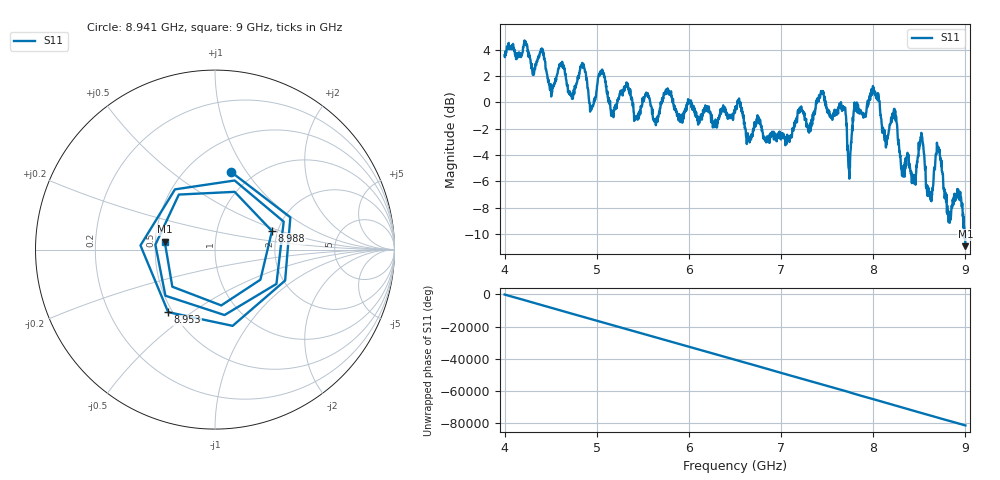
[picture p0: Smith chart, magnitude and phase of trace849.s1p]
! Created with skrf 1.8.0 (http://scikit-rf.org).
# Hz S RI R 50.0
!freq ReS11 ImS11
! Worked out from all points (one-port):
!   1601 points, 4 GHz to 9 GHz, reference 50 ohm
!   lowest |S11| = -10.9 dB at 9 GHz (marker M1), VSWR 1.79, Z = 28 + j2.73 ohm
!   |S11| at or under -10 dB: 8.989711 GHz to end of sweep
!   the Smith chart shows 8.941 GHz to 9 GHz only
!   S11 on the Smith chart (normalised r, x): 8.941 GHz: 0.79, +0.85; 8.953 GHz: 0.47, -0.41; 8.988 GHz: 1.86, +0.44; 9 GHz: 0.56, +0.05
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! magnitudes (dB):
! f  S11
! 4 GHz  3.6
! 4.406 GHz  4.0
! 4.509 GHz  0.7
! 4.625 GHz  3.1
! 4.722 GHz  0.5
! 4.853 GHz  3.0
! 4.941 GHz  -0.6
! 5.047 GHz  2.2
! 5.166 GHz  -1.0
! 5.25 GHz  0.7
! 5.875 GHz  -0.8
! 6.5 GHz  -0.8
! 7.125 GHz  -2.0
! 7.45 GHz  0.9
! 7.675 GHz  -0.3
! 7.75 GHz  -4.1
! 7.803 GHz  -0.2
! 7.997 GHz  1.2
! 8.375 GHz  -4.1
! 8.441 GHz  -5.9
! 8.525 GHz  -2.9
! 8.622 GHz  -7.4
! 8.703 GHz  -3.6
! 8.822 GHz  -8.3
! 8.941 GHz  -7.1
! 8.953 GHz  -7.2
! 8.988 GHz  -9.5
! 9 GHz  -10.9
